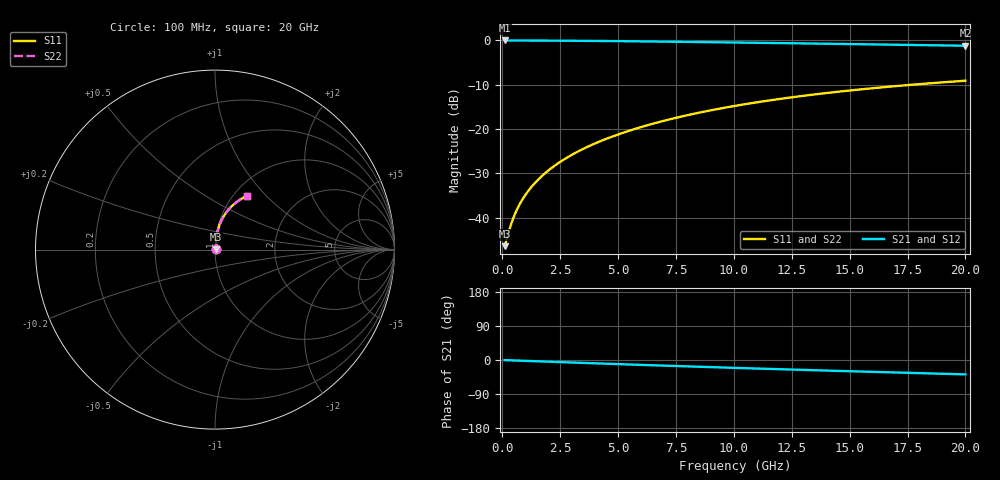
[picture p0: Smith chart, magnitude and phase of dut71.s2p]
! Touchstone file exported from HFSS 2024.1.0
!  File:  C:/UserFiles/LocalFiles/RDL_TSV_Batchsim/temp_RDL_bottom_71_1778693880.aedt
!  Generated:  01:40:48 AM May 14, 2026
!  Design:  RDL_bottom
!  Project:  temp_RDL_bottom_71_1778693880
!  Setup:  Setup1
!  Solution:  Sweep
! Variables:
!  dtsv = 10.80580581um
!  hbump = 3um
!  htsv = 71.48um
!  ldown = 528.7um
!  lrdl = 100um
!  p = 40
!  p1 = 46.05um
!  rhole = 1um
!  t = 450um
!  tdown = 2.13um
!  trdl = 3.915915916um
!  wdown = 21.75um
!  wrdl = 20um
# GHz S MA R 50.000000
! Terminal data exported
! Port[1] = RDL1_T1
! Port[2] = RDL1_T2
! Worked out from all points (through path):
!   200 points, 100 MHz to 20 GHz, reference 50 ohm
!   highest |S21| = -0.04 dB at 100 MHz (marker M1); lowest = -1.2 dB at 20 GHz (marker M2)
!   group delay of S21, straight-line fit = 5.24 ps
!   lowest |S11| = -46.5 dB at 100 MHz (marker M3), VSWR 1.01, Z = 50.4 + j0.189 ohm
!   |S11| at or under -10 dB: start of sweep to 17.76 GHz
!   |S22| runs from -46.5 to -9.1 dB; largest |S21 - S12| = 2.1e-15
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0.1  0.004747 23.2  0.9956 -0.2  0.9956 -0.2  0.004747 23.2
! Gamma 0 0 0 0
! Port Impedance 50 0 50 0
0.3  0.007185 50.1  0.9953 -0.7  0.9953 -0.7  0.007185 50.1
0.4  0.008688 56.7  0.9951 -0.9  0.9951 -0.9  0.008688 56.7
0.6  0.01179 64.4  0.9947 -1.4  0.9947 -1.4  0.01179 64.4
0.7  0.01335 66.9  0.9945 -1.6  0.9945 -1.6  0.01335 66.9
0.9  0.01647 70.6  0.9941 -2.0  0.9941 -2.0  0.01647 70.6
1.2  0.02119 74.3  0.9934 -2.7  0.9934 -2.7  0.02119 74.3
1.4  0.02437 76.0  0.993 -3.2  0.993 -3.2  0.02437 76.0
1.7  0.02921 78.0  0.9922 -3.8  0.9922 -3.8  0.02921 78.0
2.2  0.03743 80.1  0.9908 -4.9  0.9908 -4.9  0.03743 80.1
2.8  0.04753 81.5  0.9887 -6.2  0.9887 -6.2  0.04753 81.5
3.5  0.05961 82.3  0.9859 -7.7  0.9859 -7.7  0.05961 82.3
4.2  0.072 82.6  0.9825 -9.2  0.9825 -9.2  0.072 82.6
5  0.08649 82.4  0.9783 -10.9  0.9783 -10.9  0.08649 82.4
5.9  0.1032 81.9  0.9729 -12.7  0.9729 -12.7  0.1031 81.9
6.8  0.1201 81.0  0.9672 -14.5  0.9672 -14.5  0.1201 81.0
8.4  0.1505 78.9  0.9563 -17.7  0.9563 -17.7  0.1505 78.9
10.1  0.1828 76.2  0.9441 -20.9  0.9441 -20.9  0.1828 76.2
11.7  0.2127 73.5  0.9321 -23.8  0.9321 -23.8  0.2127 73.4
13.4  0.2434 70.5  0.9192 -26.9  0.9192 -26.9  0.2434 70.4
16.7  0.2994 64.6  0.8935 -32.5  0.8935 -32.5  0.2994 64.6
20  0.3497 59.0  0.8678 -37.9  0.8678 -37.9  0.3497 59.0
